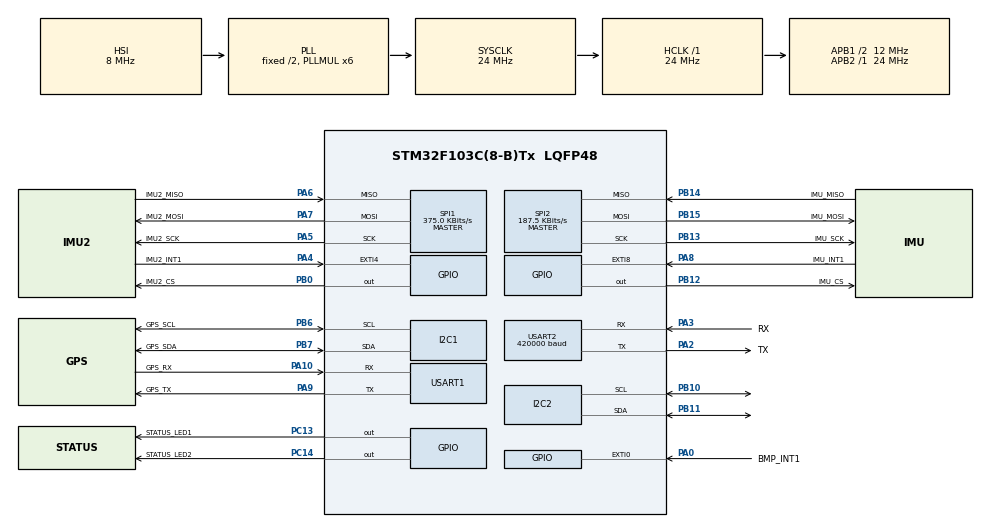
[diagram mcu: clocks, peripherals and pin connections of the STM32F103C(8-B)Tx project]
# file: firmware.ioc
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Dma.Request0=USART1_TX
Dma.Request1=USART2_RX
Dma.USART1_TX.0.Direction=DMA_MEMORY_TO_PERIPH
Dma.USART1_TX.0.Instance=DMA1_Channel4
Dma.USART1_TX.0.MemDataAlignment=DMA_MDATAALIGN_BYTE
Dma.USART1_TX.0.MemInc=DMA_MINC_ENABLE
Dma.USART1_TX.0.Mode=DMA_NORMAL
Dma.USART1_TX.0.PeriphDataAlignment=DMA_PDATAALIGN_BYTE
Dma.USART1_TX.0.PeriphInc=DMA_PINC_DISABLE
Dma.USART1_TX.0.Priority=DMA_PRIORITY_LOW
Dma.USART2_RX.1.Direction=DMA_PERIPH_TO_MEMORY
Dma.USART2_RX.1.Instance=DMA1_Channel6
Dma.USART2_RX.1.MemDataAlignment=DMA_MDATAALIGN_BYTE
Dma.USART2_RX.1.MemInc=DMA_MINC_ENABLE
Dma.USART2_RX.1.Mode=DMA_CIRCULAR
Dma.USART2_RX.1.PeriphDataAlignment=DMA_PDATAALIGN_BYTE
Dma.USART2_RX.1.PeriphInc=DMA_PINC_DISABLE
Dma.USART2_RX.1.Priority=DMA_PRIORITY_VERY_HIGH
Mcu.Family=STM32F1
Mcu.Name=STM32F103C(8-B)Tx
Mcu.Package=LQFP48
NVIC.DMA1_Channel4_IRQn=true\:0\:0\:false\:false\:true\:false\:true\:true
NVIC.DMA1_Channel6_IRQn=true\:0\:0\:false\:false\:true\:false\:true\:true
NVIC.PriorityGroup=NVIC_PRIORITYGROUP_4
NVIC.USART2_IRQn=true\:0\:0\:false\:false\:true\:true\:true\:true
PA0-WKUP.GPIO_Label=BMP_INT1
PA0-WKUP.Signal=GPXTI0
PA10.GPIO_Label=GPS_RX
PA10.Mode=Asynchronous
PA10.Signal=USART1_RX
PA13.Mode=Serial_Wire
PA13.Signal=SYS_JTMS-SWDIO
PA14.Mode=Serial_Wire
PA14.Signal=SYS_JTCK-SWCLK
PA2.GPIO_Label=TX
PA2.Mode=Asynchronous
PA2.Signal=USART2_TX
PA3.GPIO_Label=RX
PA3.Mode=Asynchronous
PA3.Signal=USART2_RX
PA4.GPIO_Label=IMU2_INT1
PA4.Signal=GPXTI4
PA5.GPIO_Label=IMU2_SCK
PA5.Mode=Full_Duplex_Master
PA5.Signal=SPI1_SCK
PA6.GPIO_Label=IMU2_MISO
PA6.Mode=Full_Duplex_Master
PA6.Signal=SPI1_MISO
PA7.GPIO_Label=IMU2_MOSI
PA7.Mode=Full_Duplex_Master
PA7.Signal=SPI1_MOSI
PA8.GPIO_Label=IMU_INT1
PA8.Signal=GPXTI8
PA9.GPIO_Label=GPS_TX
PA9.Mode=Asynchronous
PA9.Signal=USART1_TX
PB0.GPIO_Label=IMU2_CS
PB0.PinState=GPIO_PIN_SET
PB0.Signal=GPIO_Output
PB10.Mode=I2C
PB10.Signal=I2C2_SCL
PB11.Mode=I2C
PB11.Signal=I2C2_SDA
PB12.GPIO_Label=IMU_CS
PB12.PinState=GPIO_PIN_SET
PB12.Signal=GPIO_Output
PB13.GPIO_Label=IMU_SCK
PB13.Mode=Full_Duplex_Master
PB13.Signal=SPI2_SCK
PB14.GPIO_Label=IMU_MISO
PB14.Mode=Full_Duplex_Master
PB14.Signal=SPI2_MISO
PB15.GPIO_Label=IMU_MOSI
PB15.Mode=Full_Duplex_Master
PB15.Signal=SPI2_MOSI
PB6.GPIO_Label=GPS_SCL
PB6.Mode=I2C
PB6.Signal=I2C1_SCL
PB7.GPIO_Label=GPS_SDA
PB7.Mode=I2C
PB7.Signal=I2C1_SDA
PC13-TAMPER-RTC.GPIO_Label=STATUS_LED1
PC13-TAMPER-RTC.PinState=GPIO_PIN_SET
PC13-TAMPER-RTC.Signal=GPIO_Output
PC14-OSC32_IN.GPIO_Label=STATUS_LED2
PC14-OSC32_IN.PinState=GPIO_PIN_SET
PC14-OSC32_IN.Signal=GPIO_Output
ProjectManager.HeapSize=0x200
ProjectManager.StackSize=0x400
ProjectManager.TargetToolchain=STM32CubeIDE
RCC.AHBFreq_Value=24000000
RCC.APB1CLKDivider=RCC_HCLK_DIV2
RCC.APB1Freq_Value=12000000
RCC.APB1TimFreq_Value=24000000
RCC.APB2Freq_Value=24000000
RCC.APB2TimFreq_Value=24000000
RCC.HCLKFreq_Value=24000000
RCC.PLLMUL=RCC_PLL_MUL6
RCC.SYSCLKFreq_VALUE=24000000
RCC.SYSCLKSource=RCC_SYSCLKSOURCE_PLLCLK
RCC.USBFreq_Value=24000000
SPI1.BaudRatePrescaler=SPI_BAUDRATEPRESCALER_64
SPI1.CLKPhase=SPI_PHASE_2EDGE
SPI1.CLKPolarity=SPI_POLARITY_HIGH
SPI1.CalculateBaudRate=375.0 KBits/s
SPI1.Direction=SPI_DIRECTION_2LINES
SPI1.Mode=SPI_MODE_MASTER
SPI1.VirtualType=VM_MASTER
SPI2.BaudRatePrescaler=SPI_BAUDRATEPRESCALER_64
SPI2.CLKPhase=SPI_PHASE_2EDGE
SPI2.CLKPolarity=SPI_POLARITY_HIGH
SPI2.CRCCalculation=SPI_CRCCALCULATION_DISABLE
SPI2.CalculateBaudRate=187.5 KBits/s
SPI2.Direction=SPI_DIRECTION_2LINES
SPI2.Mode=SPI_MODE_MASTER
SPI2.VirtualType=VM_MASTER
USART1.VirtualMode=VM_ASYNC
USART2.BaudRate=420000
USART2.VirtualMode=VM_ASYNC
board=custom

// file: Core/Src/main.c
/* USER CODE BEGIN Header */
/**
  ******************************************************************************
  * @file           : main.c
  * @brief          : Main program body
  ******************************************************************************
  * @attention
  *
  * Copyright (c) 2025 STMicroelectronics.
  * All rights reserved.
  *
  * This software is licensed under terms that can be found in the LICENSE file
  * in the root directory of this software component.
  * If no LICENSE file comes with this software, it is provided AS-IS.
  *
  ******************************************************************************
  */
/* USER CODE END Header */
#include "main.h"

/* USER CODE BEGIN Includes */
#include "crsf.h"
#include "icm42688p.h"
#include "complementary_filter.h"
#include <stdio.h>
#include "pid.h"
#include <math.h>
#include "bmi270_stm32.h"
/* USER CODE END Includes */

/* USER CODE BEGIN PD */
#define SIM_MODE 0   // 1 = simulation, 0 = real IMU
#define SIM_GAIN 0.05f  // how responsive sim drone is

//struct bmi2_dev bmi;
struct bmi2_dev bmi;
volatile int8_t result;
volatile uint8_t chip_id = 0;
volatile int16_t ax, ay, az, gx, gy, gz;
/* USER CODE END PD */

I2C_HandleTypeDef hi2c1;
I2C_HandleTypeDef hi2c2;

SPI_HandleTypeDef hspi1;
SPI_HandleTypeDef hspi2;

UART_HandleTypeDef huart1;
UART_HandleTypeDef huart2;
DMA_HandleTypeDef hdma_usart1_tx;
DMA_HandleTypeDef hdma_usart2_rx;

/* USER CODE BEGIN PV */
//char buf[96];      // ← add these
int len = 0;       // ← add these
/*
 * IMU + attitude filter instances.
 * Add these to your Live Expressions / Watch window in STM32CubeIDE:
 *   attitude.roll      (degrees, stable, accel-corrected)
 *   attitude.pitch     (degrees, stable, accel-corrected)
 *   attitude.yaw       (degrees, relative to power-on heading, will drift)
 *   imu_data.accel_g   (raw accel in g for verification)
 *   imu_data.gyro_dps  (raw gyro in deg/s)
 */
static float pid_roll_out      = 0.0f;
static float pid_pitch_out     = 0.0f;
//static float sim_time          = 0.0f;
//static float sim_roll_setpoint = 0.0f;
//static float sim_pitch_setpoint= 0.0f;
static PID_Handle_t pid_roll;
static PID_Handle_t pid_pitch;
///////////
// sim //

static PID_Handle_t pid_yaw;
static float pid_yaw_out = 0.0f;
//////////

static ICM42688P_Data_t  imu_data;
static CF_Handle_t       attitude;

/* Loop timing */
#define ATTITUDE_DT_MS  1U       /* Call CF_Update() every 1 ms (1 kHz) */
#define ATTITUDE_DT_S   0.001f   /* Same in seconds — passed to CF_Update() */

/* USER CODE END PV */

void SystemClock_Config(void);
static void MX_GPIO_Init(void);
static void MX_DMA_Init(void);
static void MX_I2C1_Init(void);
static void MX_I2C2_Init(void);
static void MX_SPI1_Init(void);
static void MX_SPI2_Init(void);
static void MX_USART1_UART_Init(void);
static void MX_USART2_UART_Init(void);

int main(void)
{

  /* MCU Configuration--------------------------------------------------------*/

  /* Reset of all peripherals, Initializes the Flash interface and the Systick. */
  HAL_Init();

  /* Configure the system clock */
  SystemClock_Config();

  /* Initialize all configured peripherals */
  MX_GPIO_Init();
  MX_DMA_Init();
  MX_I2C1_Init();
  MX_I2C2_Init();
  MX_SPI1_Init();
  MX_SPI2_Init();
  MX_USART1_UART_Init();
  MX_USART2_UART_Init();
  /* USER CODE BEGIN 2 */

//  uint8_t chip_id = 0;
//  int8_t result;

  // Read chip ID
  result = bmi270_interface_init(&bmi);
  if (result != BMI2_OK) {
      Error_Handler(); // Init failed
  }

  result = bmi2_get_regs(BMI2_CHIP_ID_ADDR, &chip_id, 1, &bmi);
  if (chip_id != 0x24) {
      Error_Handler(); // Wrong chip ID
  }

  result = bmi270_configure_sensor(&bmi);
  if (result != BMI2_OK) {
      Error_Handler(); // Config failed
  }

  PID_Init(&pid_roll,  2.0f, 0.05f, 0.5f, 50.0f, 100.0f);
  PID_Init(&pid_pitch, 2.0f, 0.05f, 0.5f, 50.0f, 100.0f);

  // sim //
  PID_Init(&pid_yaw, 2.0f, 0.05f, 0.5f, 50.0f, 100.0f);
  ////////////

  CRSF_Init(&huart2);

  /* --- Initialize ICM-42688-P --- */
  if (ICM42688P_Init(&hspi2) != ICM42688P_OK) {
      Error_Handler();
  }

  /* --- Initialize attitude filter --- */
  CF_Init(&attitude, CF_KP_DEFAULT, CF_KI_DEFAULT);

  /*
   * Board alignment: ICM-42688-P pin-1 dot faces the drone nose.
   * From the datasheet, this puts ICM +Y = forward, ICM +X = right.
   * CF_REMAP_Y_FWD corrects the axis swap so:
   *   attitude.pitch > 0  = nose up
   *   attitude.roll  > 0  = left wing up  (negate if you want right-wing-up > 0)
   *   attitude.yaw        = relative heading, no sign guarantee yet
   */
  CF_SetAxisRemap(&attitude, CF_REMAP_Y_FWD);

  /*
   * Seed the quaternion from the first accel reading so the filter
   * starts at the correct roll/pitch instead of converging from zero.
   * Take a few readings and average to avoid startup noise.
   */
  {
      ICM42688P_Data_t seed = {0};
      float ax = 0.0f, ay = 0.0f, az = 0.0f;
      for (int i = 0; i < 32; i++) {
          ICM42688P_ReadAll(&hspi2, &seed);
          ax += seed.accel_g.x;
          ay += seed.accel_g.y;
          az += seed.accel_g.z;
          HAL_Delay(2);
      }
      CF_InitFromAccel(&attitude, ax / 32.0f, ay / 32.0f, az / 32.0f);
  }

  /* USER CODE END 2 */

  /* Infinite loop */
  while (1)
  {

    /* USER CODE BEGIN 3 */

	    result = bmi270_read_sensor_data(&bmi, &ax, &ay, &az, &gx, &gy, &gz);
	    HAL_Delay(10);
	    CRSF_Process();
	    uint32_t now = HAL_GetTick();

	    // 1kHz attitude update
	    static uint32_t last_tick = 0U;
	    if ((now - last_tick) >= ATTITUDE_DT_MS) {
	        last_tick = now;
	        if (ICM42688P_ReadAll(&hspi2, &imu_data) == ICM42688P_OK) {
	            CF_Update(&attitude, &imu_data, ATTITUDE_DT_S);
	        }
	    }

	    // 20Hz transmit
	    static uint32_t print_tick = 0;
	    if ((now - print_tick) >= 50) {
	        print_tick = now;

	        if (huart1.gState == HAL_UART_STATE_READY) {
	            float sp_roll  = crsf_data.roll;
	            float sp_pitch = crsf_data.pitch;
	            float sp_yaw   = crsf_data.yaw;

	            pid_roll_out  = PID_Update(&pid_roll,  sp_roll,  attitude.roll,  0.05f);
	            pid_pitch_out = PID_Update(&pid_pitch, sp_pitch, attitude.pitch, 0.05f);
	            pid_yaw_out   = PID_Update(&pid_yaw,   sp_yaw,   attitude.yaw,   0.05f);

	            static char buf[128];
	            int len = snprintf(buf, sizeof(buf),
	                "%.2f,%.2f,%.2f,%.2f,%.2f,%.2f,%.2f,%.2f,%.2f,%.2f\n",
	                attitude.roll, attitude.pitch, attitude.yaw,
	                sp_roll, sp_pitch, sp_yaw,
	                pid_roll_out, pid_pitch_out, pid_yaw_out,
	                crsf_data.throttle);

	            HAL_UART_Transmit(&huart1, (uint8_t *)buf, len, 5);
	        }
	    }

	    if (crsf_data.new_frame) {
	        crsf_data.new_frame = false;
	    }
  /* USER CODE END 3 */
}
}
void SystemClock_Config(void)
{
  RCC_OscInitTypeDef RCC_OscInitStruct = {0};
  RCC_ClkInitTypeDef RCC_ClkInitStruct = {0};

  /** Initializes the RCC Oscillators according to the specified parameters
  * in the RCC_OscInitTypeDef structure.
  */
  RCC_OscInitStruct.OscillatorType = RCC_OSCILLATORTYPE_HSI;
  RCC_OscInitStruct.HSIState = RCC_HSI_ON;
  RCC_OscInitStruct.HSICalibrationValue = RCC_HSICALIBRATION_DEFAULT;
  RCC_OscInitStruct.PLL.PLLState = RCC_PLL_ON;
  RCC_OscInitStruct.PLL.PLLSource = RCC_PLLSOURCE_HSI_DIV2;
  RCC_OscInitStruct.PLL.PLLMUL = RCC_PLL_MUL6;
  if (HAL_RCC_OscConfig(&RCC_OscInitStruct) != HAL_OK)
  {
    Error_Handler();
  }

  /** Initializes the CPU, AHB and APB buses clocks
  */
  RCC_ClkInitStruct.ClockType = RCC_CLOCKTYPE_HCLK|RCC_CLOCKTYPE_SYSCLK
                              |RCC_CLOCKTYPE_PCLK1|RCC_CLOCKTYPE_PCLK2;
  RCC_ClkInitStruct.SYSCLKSource = RCC_SYSCLKSOURCE_PLLCLK;
  RCC_ClkInitStruct.AHBCLKDivider = RCC_SYSCLK_DIV1;
  RCC_ClkInitStruct.APB1CLKDivider = RCC_HCLK_DIV2;
  RCC_ClkInitStruct.APB2CLKDivider = RCC_HCLK_DIV1;

  if (HAL_RCC_ClockConfig(&RCC_ClkInitStruct, FLASH_LATENCY_0) != HAL_OK)
  {
    Error_Handler();
  }
}

static void MX_I2C1_Init(void)
{

  hi2c1.Instance = I2C1;
  hi2c1.Init.ClockSpeed = 100000;
  hi2c1.Init.DutyCycle = I2C_DUTYCYCLE_2;
  hi2c1.Init.OwnAddress1 = 0;
  hi2c1.Init.AddressingMode = I2C_ADDRESSINGMODE_7BIT;
  hi2c1.Init.DualAddressMode = I2C_DUALADDRESS_DISABLE;
  hi2c1.Init.OwnAddress2 = 0;
  hi2c1.Init.GeneralCallMode = I2C_GENERALCALL_DISABLE;
  hi2c1.Init.NoStretchMode = I2C_NOSTRETCH_DISABLE;
  if (HAL_I2C_Init(&hi2c1) != HAL_OK)
  {
    Error_Handler();
  }

}

static void MX_I2C2_Init(void)
{

  hi2c2.Instance = I2C2;
  hi2c2.Init.ClockSpeed = 100000;
  hi2c2.Init.DutyCycle = I2C_DUTYCYCLE_2;
  hi2c2.Init.OwnAddress1 = 0;
  hi2c2.Init.AddressingMode = I2C_ADDRESSINGMODE_7BIT;
  hi2c2.Init.DualAddressMode = I2C_DUALADDRESS_DISABLE;
  hi2c2.Init.OwnAddress2 = 0;
  hi2c2.Init.GeneralCallMode = I2C_GENERALCALL_DISABLE;
  hi2c2.Init.NoStretchMode = I2C_NOSTRETCH_DISABLE;
  if (HAL_I2C_Init(&hi2c2) != HAL_OK)
  {
    Error_Handler();
  }

}

static void MX_SPI1_Init(void)
{

  /* SPI1 parameter configuration*/
  hspi1.Instance = SPI1;
  hspi1.Init.Mode = SPI_MODE_MASTER;
  hspi1.Init.Direction = SPI_DIRECTION_2LINES;
  hspi1.Init.DataSize = SPI_DATASIZE_8BIT;
  hspi1.Init.CLKPolarity = SPI_POLARITY_HIGH;
  hspi1.Init.CLKPhase = SPI_PHASE_2EDGE;
  hspi1.Init.NSS = SPI_NSS_SOFT;
  hspi1.Init.BaudRatePrescaler = SPI_BAUDRATEPRESCALER_64;
  hspi1.Init.FirstBit = SPI_FIRSTBIT_MSB;
  hspi1.Init.TIMode = SPI_TIMODE_DISABLE;
  hspi1.Init.CRCCalculation = SPI_CRCCALCULATION_DISABLE;
  hspi1.Init.CRCPolynomial = 10;
  if (HAL_SPI_Init(&hspi1) != HAL_OK)
  {
    Error_Handler();
  }

}

static void MX_SPI2_Init(void)
{

  /* SPI2 parameter configuration*/
  hspi2.Instance = SPI2;
  hspi2.Init.Mode = SPI_MODE_MASTER;
  hspi2.Init.Direction = SPI_DIRECTION_2LINES;
  hspi2.Init.DataSize = SPI_DATASIZE_8BIT;
  hspi2.Init.CLKPolarity = SPI_POLARITY_HIGH;
  hspi2.Init.CLKPhase = SPI_PHASE_2EDGE;
  hspi2.Init.NSS = SPI_NSS_SOFT;
  hspi2.Init.BaudRatePrescaler = SPI_BAUDRATEPRESCALER_64;
  hspi2.Init.FirstBit = SPI_FIRSTBIT_MSB;
  hspi2.Init.TIMode = SPI_TIMODE_DISABLE;
  hspi2.Init.CRCCalculation = SPI_CRCCALCULATION_DISABLE;
  hspi2.Init.CRCPolynomial = 10;
  if (HAL_SPI_Init(&hspi2) != HAL_OK)
  {
    Error_Handler();
  }

}

static void MX_USART1_UART_Init(void)
{

  huart1.Instance = USART1;
  huart1.Init.BaudRate = 115200;
  huart1.Init.WordLength = UART_WORDLENGTH_8B;
  huart1.Init.StopBits = UART_STOPBITS_1;
  huart1.Init.Parity = UART_PARITY_NONE;
  huart1.Init.Mode = UART_MODE_TX_RX;
  huart1.Init.HwFlowCtl = UART_HWCONTROL_NONE;
  huart1.Init.OverSampling = UART_OVERSAMPLING_16;
  if (HAL_UART_Init(&huart1) != HAL_OK)
  {
    Error_Handler();
  }

}

static void MX_USART2_UART_Init(void)
{

  huart2.Instance = USART2;
  huart2.Init.BaudRate = 420000;
  huart2.Init.WordLength = UART_WORDLENGTH_8B;
  huart2.Init.StopBits = UART_STOPBITS_1;
  huart2.Init.Parity = UART_PARITY_NONE;
  huart2.Init.Mode = UART_MODE_TX_RX;
  huart2.Init.HwFlowCtl = UART_HWCONTROL_NONE;
  huart2.Init.OverSampling = UART_OVERSAMPLING_16;
  if (HAL_UART_Init(&huart2) != HAL_OK)
  {
    Error_Handler();
  }

}

static void MX_DMA_Init(void)
{

  /* DMA controller clock enable */
  __HAL_RCC_DMA1_CLK_ENABLE();

  /* DMA interrupt init */
  /* DMA1_Channel4_IRQn interrupt configuration */
  HAL_NVIC_SetPriority(DMA1_Channel4_IRQn, 0, 0);
  HAL_NVIC_EnableIRQ(DMA1_Channel4_IRQn);
  /* DMA1_Channel6_IRQn interrupt configuration */
  HAL_NVIC_SetPriority(DMA1_Channel6_IRQn, 0, 0);
  HAL_NVIC_EnableIRQ(DMA1_Channel6_IRQn);

}

static void MX_GPIO_Init(void)
{
  GPIO_InitTypeDef GPIO_InitStruct = {0};

  /* GPIO Ports Clock Enable */
  __HAL_RCC_GPIOC_CLK_ENABLE();
  __HAL_RCC_GPIOA_CLK_ENABLE();
  __HAL_RCC_GPIOB_CLK_ENABLE();

  /*Configure GPIO pin Output Level */
  HAL_GPIO_WritePin(GPIOC, STATUS_LED1_Pin|STATUS_LED2_Pin, GPIO_PIN_SET);

  /*Configure GPIO pin Output Level */
  HAL_GPIO_WritePin(GPIOB, IMU2_CS_Pin|IMU_CS_Pin, GPIO_PIN_SET);

  /*Configure GPIO pins : STATUS_LED1_Pin STATUS_LED2_Pin */
  GPIO_InitStruct.Pin = STATUS_LED1_Pin|STATUS_LED2_Pin;
  GPIO_InitStruct.Mode = GPIO_MODE_OUTPUT_PP;
  GPIO_InitStruct.Pull = GPIO_NOPULL;
  GPIO_InitStruct.Speed = GPIO_SPEED_FREQ_LOW;
  HAL_GPIO_Init(GPIOC, &GPIO_InitStruct);

  /*Configure GPIO pins : BMP_INT1_Pin IMU2_INT1_Pin IMU_INT1_Pin */
  GPIO_InitStruct.Pin = BMP_INT1_Pin|IMU2_INT1_Pin|IMU_INT1_Pin;
  GPIO_InitStruct.Mode = GPIO_MODE_IT_RISING;
  GPIO_InitStruct.Pull = GPIO_NOPULL;
  HAL_GPIO_Init(GPIOA, &GPIO_InitStruct);

  /*Configure GPIO pins : IMU2_CS_Pin IMU_CS_Pin */
  GPIO_InitStruct.Pin = IMU2_CS_Pin|IMU_CS_Pin;
  GPIO_InitStruct.Mode = GPIO_MODE_OUTPUT_PP;
  GPIO_InitStruct.Pull = GPIO_NOPULL;
  GPIO_InitStruct.Speed = GPIO_SPEED_FREQ_LOW;
  HAL_GPIO_Init(GPIOB, &GPIO_InitStruct);

}

void Error_Handler(void)
{
  __disable_irq();
  while (1)
  {
  }
}
